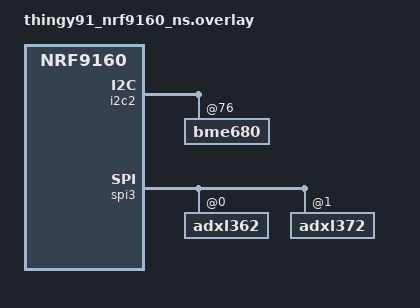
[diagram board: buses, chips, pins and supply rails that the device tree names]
/*
 * Copyright (c) 2023 Nordic Semiconductor ASA
 *
 * SPDX-License-Identifier: LicenseRef-Nordic-5-Clause
 */

/ {
	aliases {
		temp-sensor = &bme680;
		humidity-sensor = &bme680;
		pressure-sensor = &bme680;
		iaq-sensor = &bme680;
		accelerometer = &adxl362;
		impact-sensor = &adxl372;
	};

	chosen {
		nordic,pgps-partition = &pgps_partition;
	};
};

/delete-node/ &scratch_partition;

&flash0 {
	partitions {
		pgps_partition: partition@de000 {
			compatible = "zephyr,mapped-partition";
			label = "pgps";
			reg = <0x00000000 0x14000>;
		};
	};
};

&i2c2 {
	bme680: bme680@76 {};
};

&spi3 {
	adxl362: adxl362@0 {
		autosleep;
	};

	adxl372: adxl372@1 {
		odr = <4>;
		bw = <4>;
		hpf = <0>;
	};
};
